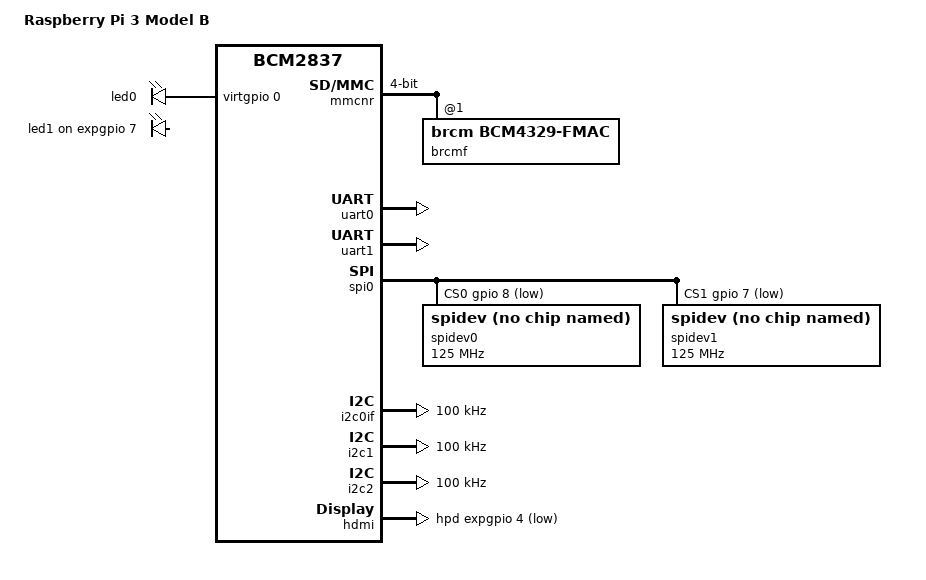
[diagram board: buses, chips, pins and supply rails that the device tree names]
/dts-v1/;

#include "bcm2710.dtsi"
#include "bcm2709-rpi.dtsi"
#include "bcm283x-rpi-smsc9514.dtsi"
#include "bcm283x-rpi-csi1-2lane.dtsi"
#include "bcm283x-rpi-i2c0mux_0_44.dtsi"
#include "bcm271x-rpi-bt.dtsi"

/ {
	compatible = "raspberrypi,3-model-b", "brcm,bcm2837";
	model = "Raspberry Pi 3 Model B";

	chosen {
		bootargs = "coherent_pool=1M 8250.nr_uarts=1 snd_bcm2835.enable_headphones=0";
	};

	aliases {
		serial0 = &uart1;
		serial1 = &uart0;
		mmc1 = &mmcnr;
	};
};

&gpio {
	/*
	 * Taken from rpi_SCH_3b_1p2_reduced.pdf and
	 * the official GPU firmware DT blob.
	 *
	 * Legend:
	 * "NC" = not connected (no rail from the SoC)
	 * "FOO" = GPIO line named "FOO" on the schematic
	 * "FOO_N" = GPIO line named "FOO" on schematic, active low
	 */
	gpio-line-names = "ID_SDA",
			  "ID_SCL",
			  "SDA1",
			  "SCL1",
			  "GPIO_GCLK",
			  "GPIO5",
			  "GPIO6",
			  "SPI_CE1_N",
			  "SPI_CE0_N",
			  "SPI_MISO",
			  "SPI_MOSI",
			  "SPI_SCLK",
			  "GPIO12",
			  "GPIO13",
			  /* Serial port */
			  "TXD1",
			  "RXD1",
			  "GPIO16",
			  "GPIO17",
			  "GPIO18",
			  "GPIO19",
			  "GPIO20",
			  "GPIO21",
			  "GPIO22",
			  "GPIO23",
			  "GPIO24",
			  "GPIO25",
			  "GPIO26",
			  "GPIO27",
			  "NC", /* GPIO 28 */
			  "LAN_RUN_BOOT",
			  /* Used by BT module */
			  "CTS0",
			  "RTS0",
			  "TXD0",
			  "RXD0",
			  /* Used by Wifi */
			  "SD1_CLK",
			  "SD1_CMD",
			  "SD1_DATA0",
			  "SD1_DATA1",
			  "SD1_DATA2",
			  "SD1_DATA3",
			  "PWM0_OUT",
			  "PWM1_OUT",
			  "ETH_CLK",
			  "WIFI_CLK",
			  "SDA0",
			  "SCL0",
			  "SMPS_SCL",
			  "SMPS_SDA",
			  /* Used by SD Card */
			  "SD_CLK_R",
			  "SD_CMD_R",
			  "SD_DATA0_R",
			  "SD_DATA1_R",
			  "SD_DATA2_R",
			  "SD_DATA3_R";

	spi0_pins: spi0_pins {
		brcm,pins = <9 10 11>;
		brcm,function = <4>; /* alt0 */
	};

	spi0_cs_pins: spi0_cs_pins {
		brcm,pins = <8 7>;
		brcm,function = <1>; /* output */
	};

	i2c0_pins: i2c0 {
		brcm,pins = <0 1>;
		brcm,function = <4>;
	};

	i2c1_pins: i2c1 {
		brcm,pins = <2 3>;
		brcm,function = <4>;
	};

	i2s_pins: i2s {
		brcm,pins = <18 19 20 21>;
		brcm,function = <4>; /* alt0 */
	};

	sdio_pins: sdio_pins {
		brcm,pins =     <34 35 36 37 38 39>;
		brcm,function = <7>; // alt3 = SD1
		brcm,pull =     <0 2 2 2 2 2>;
	};

	bt_pins: bt_pins {
		brcm,pins = <43>;
		brcm,function = <4>; /* alt0:GPCLK2 */
		brcm,pull = <0>;
	};

	uart0_pins: uart0_pins {
		brcm,pins = <32 33>;
		brcm,function = <7>; /* alt3=UART0 */
		brcm,pull = <0 2>;
	};

	uart1_pins: uart1_pins {
		brcm,pins;
		brcm,function;
		brcm,pull;
	};

	audio_pins: audio_pins {
		brcm,pins = <40 41>;
		brcm,function = <4>;
		brcm,pull = <0>;
	};
};

&mmcnr {
	pinctrl-names = "default";
	pinctrl-0 = <&sdio_pins>;
	bus-width = <4>;
	status = "okay";
	#address-cells = <1>;
	#size-cells = <0>;

	brcmf: wifi@1 {
		reg = <1>;
		compatible = "brcm,bcm4329-fmac";
	};
};

&soc {
	virtgpio: virtgpio {
		compatible = "brcm,bcm2835-virtgpio";
		gpio-controller;
		#gpio-cells = <2>;
		firmware = <&firmware>;
		status = "okay";
	};

};

&firmware {
	expgpio: expgpio {
		compatible = "raspberrypi,firmware-gpio";
		gpio-controller;
		#gpio-cells = <2>;
		gpio-line-names = "BT_ON",
				  "WL_ON",
				  "STATUS_LED",
				  "LAN_RUN",
				  "HDMI_HPD_N",
				  "CAM_GPIO0",
				  "CAM_GPIO1",
				  "PWR_LOW_N";
		status = "okay";
	};
};

&uart0 {
	pinctrl-names = "default";
	pinctrl-0 = <&uart0_pins &bt_pins>;
	status = "okay";
};

&uart1 {
	pinctrl-names = "default";
	pinctrl-0 = <&uart1_pins>;
	status = "okay";
};

&bt {
	max-speed = <921600>;
};

&spi0 {
	pinctrl-names = "default";
	pinctrl-0 = <&spi0_pins &spi0_cs_pins>;
	cs-gpios = <&gpio 8 1>, <&gpio 7 1>;

	spidev0: spidev@0{
		compatible = "spidev";
		reg = <0>;	/* CE0 */
		#address-cells = <1>;
		#size-cells = <0>;
		spi-max-frequency = <125000000>;
	};

	spidev1: spidev@1{
		compatible = "spidev";
		reg = <1>;	/* CE1 */
		#address-cells = <1>;
		#size-cells = <0>;
		spi-max-frequency = <125000000>;
	};
};

&i2c0if {
	clock-frequency = <100000>;
};

&i2c1 {
	pinctrl-names = "default";
	pinctrl-0 = <&i2c1_pins>;
	clock-frequency = <100000>;
};

&i2c2 {
	clock-frequency = <100000>;
};

&i2s {
	pinctrl-names = "default";
	pinctrl-0 = <&i2s_pins>;
};

&leds {
	act_led: led-act {
		label = "led0";
		default-state = "off";
		linux,default-trigger = "mmc0";
		gpios = <&virtgpio 0 0>;
	};

	pwr_led: led-pwr {
		label = "led1";
		default-state = "off";
		linux,default-trigger = "input";
		gpios = <&expgpio 7 0>;
	};
};

&hdmi {
	hpd-gpios = <&expgpio 4 GPIO_ACTIVE_LOW>;
};

&vchiq {
	pinctrl-names = "default";
	pinctrl-0 = <&audio_pins>;
};

&cam1_reg {
	gpio = <&expgpio 5 GPIO_ACTIVE_HIGH>;
};

cam0_reg: &cam_dummy_reg {
};

/ {
	__overrides__ {
		audio = <&chosen>,"bootargs{on='snd_bcm2835.enable_headphones=1 snd_bcm2835.enable_hdmi=1',off='snd_bcm2835.enable_headphones=0 snd_bcm2835.enable_hdmi=0'}";

		act_led_gpio = <&act_led>,"gpios:4";
		act_led_activelow = <&act_led>,"gpios:8";
		act_led_trigger = <&act_led>,"linux,default-trigger";

		pwr_led_gpio = <&pwr_led>,"gpios:4";
		pwr_led_activelow = <&pwr_led>,"gpios:8";
		pwr_led_trigger = <&pwr_led>,"linux,default-trigger";
	};
};
